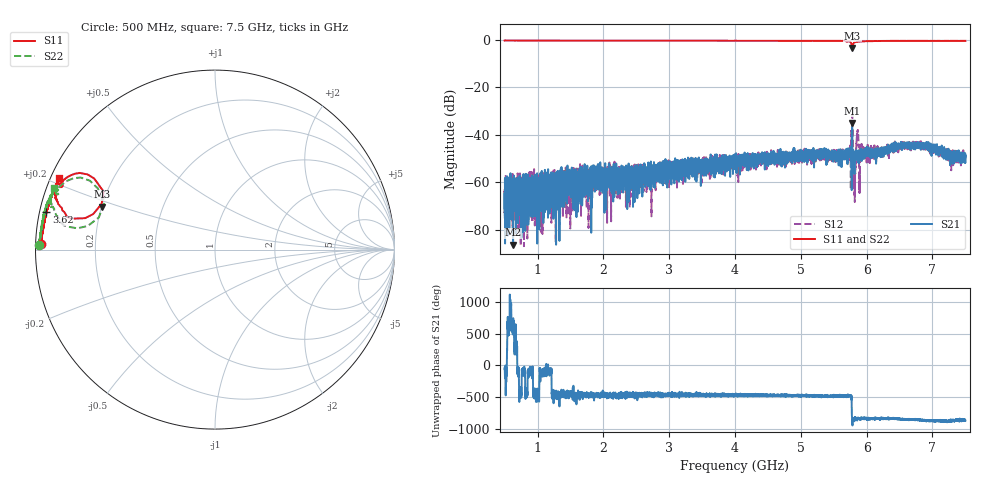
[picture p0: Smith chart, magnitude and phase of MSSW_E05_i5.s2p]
!Keysight Technologies,M9374A,MY55442783,A.12.55.05
!Date: Thursday, May 20, 2021 12:16:24
!Correction: S11(Full 2 Port(1,2))
!S21(Full 2 Port(1,2))
!S12(Full 2 Port(1,2))
!S22(Full 2 Port(1,2))
!S2P File: Measurements: S11, S21, S12, S22:
# Hz S  RI  R 50
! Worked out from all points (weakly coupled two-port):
!   7001 points, 500 MHz to 7.5 GHz, reference 50 ohm
!   highest |S21| = -34.99 dB at 5.779 GHz (marker M1); lowest = -86.2 dB at 629 MHz (marker M2)
!   lowest |S11| = -3.4 dB at 5.781 GHz (marker M3), VSWR 5.14, Z = 10 + j8.8 ohm
!   |S11| at or under -10 dB: nowhere
!   |S22| runs from -3.5 to -0.2 dB; largest |S21 - S12| = 0.02
!   S11 on the Smith chart (normalised r, x): 500 MHz: 0.01, +0.02; 3.62 GHz: 0.02, +0.11; 7.5 GHz: 0.02, +0.22
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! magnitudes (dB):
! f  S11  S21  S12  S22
! 500 MHz  -0.2  -71.1  -63.6  -0.2
! 629 MHz  -0.2  -86.2  -68.6  -0.2
! 692 MHz  -0.2  -70.4  -59.1  -0.2
! 1.667 GHz  -0.3  -58.4  -59.6  -0.2
! 1.884 GHz  -0.3  -59.3  -61.8  -0.2
! 2.275 GHz  -0.3  -55.4  -57.6  -0.2
! 2.834 GHz  -0.3  -55.4  -51.9  -0.2
! 3.62 GHz  -0.3  -54.1  -53.1  -0.2
! 4 GHz  -0.3  -51.2  -51.9  -0.3
! 5.167 GHz  -0.4  -48.3  -48.5  -0.3
! 5.726 GHz  -0.6  -48.4  -48.8  -0.5
! 5.759 GHz  -1.0  -47.0  -63.0  -0.9
! 5.779 GHz  -3.3  -35.0  -36.3  -3.3
! 5.781 GHz  -3.4  -36.2  -32.1  -3.5
! 5.827 GHz  -1.0  -49.9  -56.4  -0.8
! 5.857 GHz  -0.8  -48.9  -40.3  -0.7
! 5.918 GHz  -0.6  -45.7  -44.4  -0.5
! 5.94 GHz  -0.6  -48.4  -45.3  -0.5
! 6.073 GHz  -0.5  -46.5  -45.6  -0.4
! 6.334 GHz  -0.4  -46.3  -45.1  -0.4
! 6.795 GHz  -0.4  -44.6  -44.6  -0.4
! 7.5 GHz  -0.4  -49.2  -50.3  -0.4
